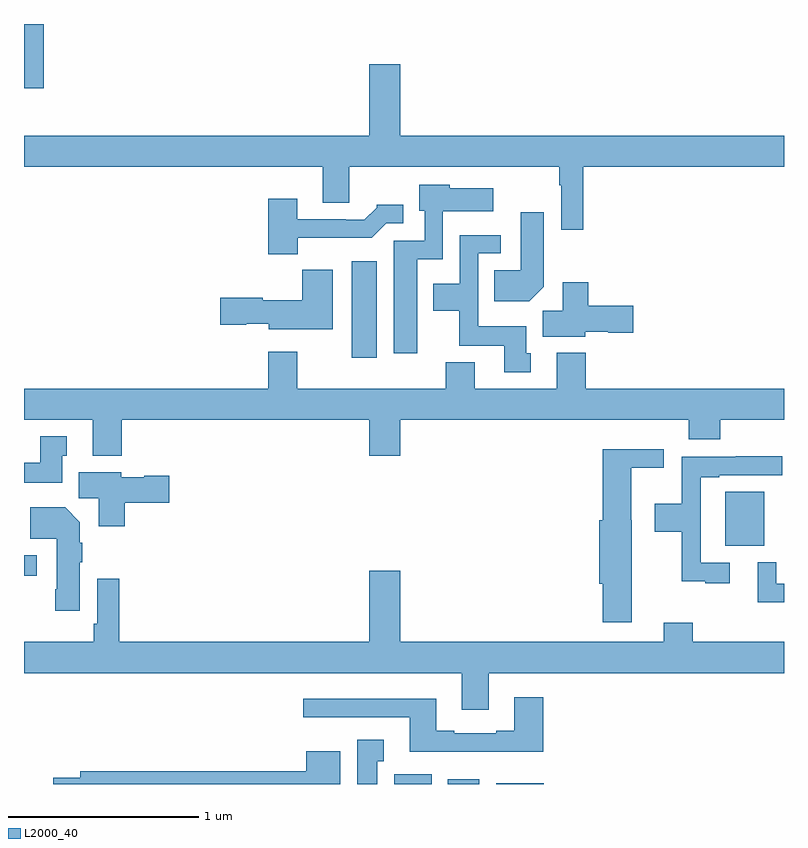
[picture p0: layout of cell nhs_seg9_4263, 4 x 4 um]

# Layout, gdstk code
import gdstk
lib = gdstk.Library(unit=1e-6, precision=1e-09)
def R(c, l, rs):  # rectangles x0, y0, x1, y1
    for r in rs: c.add(gdstk.rectangle(r[:2], r[2:], *l))
def P(c, l, *ps):  # polygons
    for p in ps: c.add(gdstk.Polygon(p, *l))
L2000_40 = (2000, 40)

nhs_seg9_4263 = lib.new_cell('nhs_seg9_4263')
R(nhs_seg9_4263, L2000_40, [(356.948,1198.5,357.145,1198.552), (357.23,1198.5,357.397,1198.525), (357.485,1198.5,357.736,1198.504), (355,1199.595,355.066,1199.703), (358.691,1199.753,358.897,1200.037), (356.726,1200.744,356.857,1201.252), (355,1202.163,355.103,1202.5)])
P(nhs_seg9_4263, L2000_40, [(357.944,1201.748),(359,1201.748),(359,1201.912),(356.98,1201.912),(356.98,1202.287),(356.816,1202.287),(356.816,1201.912),(355,1201.912),(355,1201.748),(356.573,1201.748),(356.573,1201.558),(356.713,1201.558),(356.713,1201.748),(357.816,1201.748),(357.816,1201.652),(357.828,1201.652),(357.828,1201.416),(357.944,1201.416)],
  [(357.07,1201.262),(357.204,1201.262),(357.204,1201.514),(357.469,1201.514),(357.469,1201.636),(357.24,1201.636),(357.24,1201.654),(357.08,1201.654),(357.08,1201.518),(357.108,1201.518),(357.108,1201.359),(356.945,1201.359),(356.945,1200.768),(357.07,1200.768)],
  [(356.44,1201.376),(356.831,1201.376),(356.907,1201.452),(356.995,1201.452),(356.995,1201.549),(356.856,1201.549),(356.856,1201.534),(356.792,1201.47),(356.693,1201.47),(356.693,1201.473),(356.437,1201.473),(356.437,1201.579),(356.285,1201.579),(356.285,1201.289),(356.44,1201.289)],
  [(357.736,1201.118),(357.736,1201.51),(357.614,1201.51),(357.614,1201.204),(357.475,1201.204),(357.475,1201.04),(357.658,1201.04)],
  [(357.667,1200.768),(357.643,1200.768),(357.643,1200.91),(357.39,1200.91),(357.39,1201.293),(357.508,1201.293),(357.508,1201.389),(357.294,1201.389),(357.294,1201.132),(357.155,1201.132),(357.155,1200.992),(357.292,1200.992),(357.292,1200.806),(357.527,1200.806),(357.527,1200.666),(357.667,1200.666)],
  [(356.626,1201.207),(356.464,1201.207),(356.464,1201.045),(356.256,1201.045),(356.256,1201.058),(356.034,1201.058),(356.034,1200.916),(356.169,1200.916),(356.169,1200.923),(356.288,1200.923),(356.288,1200.893),(356.626,1200.893)],
  [(357.954,1200.881),(358.074,1200.881),(358.074,1200.874),(358.207,1200.874),(358.207,1201.016),(357.971,1201.016),(357.971,1201.141),(357.836,1201.141),(357.836,1200.992),(357.731,1200.992),(357.731,1200.854),(357.954,1200.854)],
  [(357.803,1200.769),(357.803,1200.58),(357.373,1200.58),(357.373,1200.721),(357.221,1200.721),(357.221,1200.58),(356.437,1200.58),(356.437,1200.775),(356.285,1200.775),(356.285,1200.58),(355,1200.58),(355,1200.416),(355.361,1200.416),(355.361,1200.227),(355.514,1200.227),(355.514,1200.416),(356.816,1200.416),(356.816,1200.228),(356.98,1200.228),(356.98,1200.416),(358.499,1200.416),(358.499,1200.314),(358.664,1200.314),(358.664,1200.416),(359,1200.416),(359,1200.58),(357.956,1200.58),(357.956,1200.769)],
  [(355.201,1200.228),(355.225,1200.228),(355.225,1200.331),(355.085,1200.331),(355.085,1200.19),(355,1200.19),(355,1200.086),(355.201,1200.086)],
  [(358.198,1199.889),(358.195,1199.889),(358.195,1200.164),(358.366,1200.164),(358.366,1200.262),(358.046,1200.262),(358.046,1199.889),(358.028,1199.889),(358.028,1199.553),(358.046,1199.553),(358.046,1199.352),(358.198,1199.352)],
  [(358.714,1199.664),(358.563,1199.664),(358.563,1200.114),(358.66,1200.114),(358.66,1200.126),(358.99,1200.126),(358.99,1200.224),(358.747,1200.224),(358.747,1200.222),(358.462,1200.222),(358.462,1199.974),(358.32,1199.974),(358.32,1199.827),(358.462,1199.827),(358.462,1199.567),(358.586,1199.567),(358.586,1199.556),(358.714,1199.556)],
  [(355.529,1199.981),(355.765,1199.981),(355.765,1200.123),(355.632,1200.123),(355.632,1200.115),(355.512,1200.115),(355.512,1200.142),(355.289,1200.142),(355.289,1200.004),(355.394,1200.004),(355.394,1199.856),(355.529,1199.856)],
  [(355.294,1199.668),(355.307,1199.668),(355.307,1199.771),(355.294,1199.771),(355.294,1199.878),(355.216,1199.956),(355.033,1199.956),(355.033,1199.792),(355.172,1199.792),(355.172,1199.524),(355.165,1199.524),(355.165,1199.412),(355.294,1199.412)],
  [(359,1199.553),(358.959,1199.553),(358.959,1199.668),(358.862,1199.668),(358.862,1199.457),(359,1199.457)],
  [(357.445,1199.084),(359,1199.084),(359,1199.248),(358.52,1199.248),(358.52,1199.35),(358.367,1199.35),(358.367,1199.248),(356.98,1199.248),(356.98,1199.623),(356.816,1199.623),(356.816,1199.248),(355.502,1199.248),(355.502,1199.581),(355.386,1199.581),(355.386,1199.344),(355.366,1199.344),(355.366,1199.248),(355,1199.248),(355,1199.084),(357.305,1199.084),(357.305,1198.89),(357.445,1198.89)],
  [(357.734,1198.957),(357.581,1198.957),(357.581,1198.78),(357.485,1198.78),(357.485,1198.767),(357.265,1198.767),(357.265,1198.78),(357.169,1198.78),(357.169,1198.948),(356.469,1198.948),(356.469,1198.851),(357.029,1198.851),(357.029,1198.67),(357.734,1198.67)],
  [(356.86,1198.619),(356.893,1198.619),(356.893,1198.732),(356.753,1198.732),(356.753,1198.5),(356.86,1198.5)],
  [(356.665,1198.672),(356.486,1198.672),(356.486,1198.568),(355.295,1198.568),(355.295,1198.532),(355.153,1198.532),(355.153,1198.5),(356.665,1198.5)])

lib.write_gds('nhs_seg9_4263.gds')
